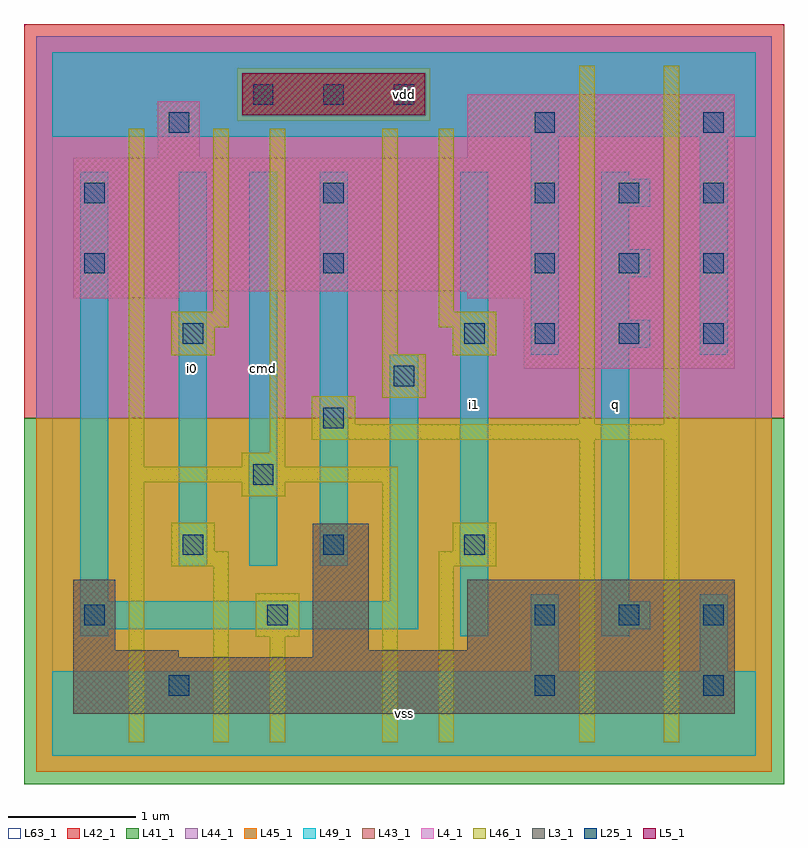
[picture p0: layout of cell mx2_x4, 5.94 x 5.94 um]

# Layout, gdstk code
import gdstk
lib = gdstk.Library(unit=1e-6, precision=1e-09)
def R(c, l, rs):  # rectangles x0, y0, x1, y1
    for r in rs: c.add(gdstk.rectangle(r[:2], r[2:], *l))
def A(c, l, x, y, w, h, nx, ny, dx, dy):  # array of equal rectangles
    R(c, l, [(x+i*dx, y+j*dy, x+i*dx+w, y+j*dy+h) for i in range(nx) for j in range(ny)])
L3_1 = (3, 1)
L4_1 = (4, 1)
L5_1 = (5, 1)
L25_1 = (25, 1)
L41_1 = (41, 1)
L42_1 = (42, 1)
L43_1 = (43, 1)
L44_1 = (44, 1)
L45_1 = (45, 1)
L46_1 = (46, 1)
L49_1 = (49, 1)
L63_1 = (63, 1)

mx2_x4 = lib.new_cell('mx2_x4')
R(mx2_x4, L3_1, [(0.165,0.33,5.335,0.77), (0.165,0.77,0.99,0.825), (2.035,0.77,5.335,0.825), (0.165,0.825,0.495,1.375), (2.035,0.825,2.475,1.815), (3.245,0.825,5.335,1.375)])
R(mx2_x4, L4_1, [(3.685,3.025,5.335,3.575), (0.165,3.575,0.99,3.63), (3.245,3.575,5.335,3.63), (0.165,3.63,5.335,4.675), (0.825,4.675,1.155,5.115), (3.245,4.675,5.335,5.17)])
R(mx2_x4, L5_1, [(1.485,5.005,2.915,5.335)])
A(mx2_x4, L25_1, 3.77, 1.02, 0.16, 0.16, 3, 2, 0.66, 2.2)
A(mx2_x4, L25_1, 1.02, 1.57, 0.16, 0.16, 3, 1, 1.1, 0)
A(mx2_x4, L25_1, 3.77, 3.77, 0.16, 0.16, 3, 2, 0.66, 0.55)
A(mx2_x4, L25_1, 1.57, 5.09, 0.16, 0.16, 3, 1, 0.55, 0)
R(mx2_x4, L25_1, [(0.91,0.47,1.07,0.63), (3.77,0.47,3.93,0.63), (5.09,0.47,5.25,0.63), (0.25,1.02,0.41,1.18), (1.68,1.02,1.84,1.18), (1.57,2.12,1.73,2.28), (2.12,2.56,2.28,2.72), (2.67,2.89,2.83,3.05), (1.02,3.22,1.18,3.38), (3.22,3.22,3.38,3.38), (0.25,3.77,0.41,3.93), (2.12,3.77,2.28,3.93), (0.25,4.32,0.41,4.48), (2.12,4.32,2.28,4.48), (0.91,4.87,1.07,5.03), (3.77,4.87,3.93,5.03), (5.09,4.87,5.25,5.03)])
R(mx2_x4, L41_1, [(-0.22,-0.22,5.72,2.64)])
R(mx2_x4, L42_1, [(-0.22,2.64,5.72,5.72)])
R(mx2_x4, L43_1, [(0.165,0.33,5.335,0.77), (0.165,0.77,0.99,0.825), (2.035,0.77,5.335,0.825), (0.165,0.825,0.495,1.375), (2.035,0.825,2.475,1.815), (3.245,0.825,5.335,1.375), (3.685,3.025,5.335,3.575), (0.165,3.575,0.99,3.63), (3.245,3.575,5.335,3.63), (0.165,3.63,5.335,4.675), (0.825,4.675,1.155,5.115), (3.245,4.675,5.335,5.17), (1.485,5.005,2.915,5.335)])
R(mx2_x4, L44_1, [(-0.125,2.64,5.625,4.965), (-0.125,4.965,1.445,5.375), (2.955,4.965,5.625,5.375), (-0.125,5.375,5.625,5.625)])
R(mx2_x4, L45_1, [(-0.125,-0.125,5.625,2.64), (1.445,4.965,2.955,5.375)])
R(mx2_x4, L46_1, [(0.6,0.105,0.72,2.14), (1.26,0.105,1.38,1.48), (1.7,0.105,1.82,0.93), (2.58,0.105,2.7,2.14), (3.02,0.105,3.14,1.48), (4.12,0.105,4.24,2.47), (4.78,0.105,4.9,2.47), (1.59,0.93,1.93,1.27), (0.93,1.48,1.38,1.6), (3.02,1.48,3.47,1.6), (0.93,1.6,1.27,1.82), (3.13,1.6,3.47,1.82), (1.48,2.03,1.82,2.14), (0.6,2.14,2.7,2.26), (0.6,2.26,0.72,4.9), (1.48,2.26,1.82,2.37), (1.7,2.37,1.82,4.9), (2.03,2.47,4.9,2.59), (2.03,2.59,2.37,2.81), (4.12,2.59,4.24,5.395), (4.78,2.59,4.9,5.395), (2.58,2.8,2.92,3.14), (0.93,3.13,1.27,3.35), (3.13,3.13,3.47,3.35), (2.58,3.14,2.7,4.9), (0.93,3.35,1.38,3.47), (3.02,3.35,3.47,3.47), (1.26,3.47,1.38,4.9), (3.02,3.47,3.14,4.9)])
A(mx2_x4, L49_1, 0.99, 1.485, 0.22, 3.08, 3, 1, 0.55, 0)
A(mx2_x4, L49_1, 4.29, 3.19, 0.385, 0.22, 1, 3, 0, 0.55)
R(mx2_x4, L49_1, [(0,0,5.5,0.66), (3.74,0.66,3.96,1.265), (5.06,0.66,5.28,1.265), (0.22,0.935,0.44,0.99), (3.19,0.935,3.41,4.565), (4.29,0.935,4.51,0.99), (0.22,0.99,2.86,1.21), (4.29,0.99,4.675,1.21), (0.22,1.21,0.44,4.565), (2.64,1.21,2.86,3.135), (4.29,1.21,4.51,3.19), (3.74,3.135,3.96,4.84), (5.06,3.135,5.28,4.84), (4.29,3.41,4.51,3.74), (4.29,3.96,4.51,4.29), (4.29,4.51,4.51,4.565), (0,4.84,5.5,5.5)])
R(mx2_x4, L63_1, [(0,0,5.5,5.5)])
mx2_x4.add(gdstk.Label('i0', (1.1,3.025), layer=49, texttype=1))
mx2_x4.add(gdstk.Label('cmd', (1.65,3.025), layer=49, texttype=1))
mx2_x4.add(gdstk.Label('vss', (2.75,0.33), layer=49, texttype=1))
mx2_x4.add(gdstk.Label('vdd', (2.75,5.17), layer=49, texttype=1))
mx2_x4.add(gdstk.Label('i1', (3.3,2.75), layer=49, texttype=1))
mx2_x4.add(gdstk.Label('q', (4.4,2.75), layer=49, texttype=1))

lib.write_gds('mx2_x4.gds')
